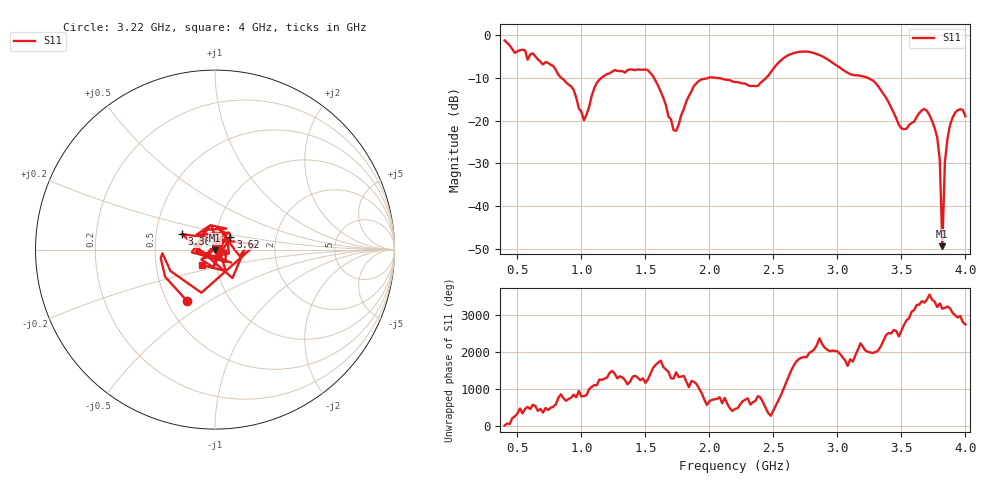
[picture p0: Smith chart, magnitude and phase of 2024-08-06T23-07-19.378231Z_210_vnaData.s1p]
!Created with skrf (http://scikit-rf.org).
# Hz S RI R 50.0
!freq ReS11 ImS11
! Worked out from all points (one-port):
!   181 points, 400 MHz to 4 GHz, reference 50 ohm
!   lowest |S11| = -49.4 dB at 3.82 GHz (marker M1), VSWR 1.01, Z = 50.2 - j0.306 ohm
!   |S11| at or under -10 dB: 1.568 GHz to 1.988 GHz (420.3 MHz wide, 23.6 % of centre); 2.061 GHz to 2.442 GHz (381.4 MHz wide, 16.9 % of centre); 3.241 GHz to end of sweep (the widest 3 of 4)
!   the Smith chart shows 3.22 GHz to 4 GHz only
!   S11 on the Smith chart (normalised r, x): 3.22 GHz: 0.63, -0.41; 3.36 GHz: 0.68, +0.12; 3.62 GHz: 1.17, +0.17; 4 GHz: 0.85, -0.15
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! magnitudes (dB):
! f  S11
! 400 MHz  -1.2
! 860 MHz  -10.3
! 940 MHz  -12.8
! 1.02 GHz  -19.9
! 1.12 GHz  -11.1
! 1.3 GHz  -8.4
! 1.52 GHz  -8.2
! 1.62 GHz  -13.2
! 1.72 GHz  -22.2
! 1.76 GHz  -20.9
! 1.92 GHz  -10.6
! 2.2 GHz  -10.9
! 2.38 GHz  -11.8
! 2.66 GHz  -4.1
! 3.1 GHz  -9.1
! 3.22 GHz  -9.7
! 3.36 GHz  -13.8
! 3.5 GHz  -21.8
! 3.56 GHz  -21.0
! 3.62 GHz  -19.0
! 3.7 GHz  -17.7
! 3.78 GHz  -23.9
! 3.8 GHz  -29.2
! 3.82 GHz  -49.4
! 3.84 GHz  -29.6
! 3.86 GHz  -24.2
! 3.92 GHz  -18.1
! 4 GHz  -19.0
